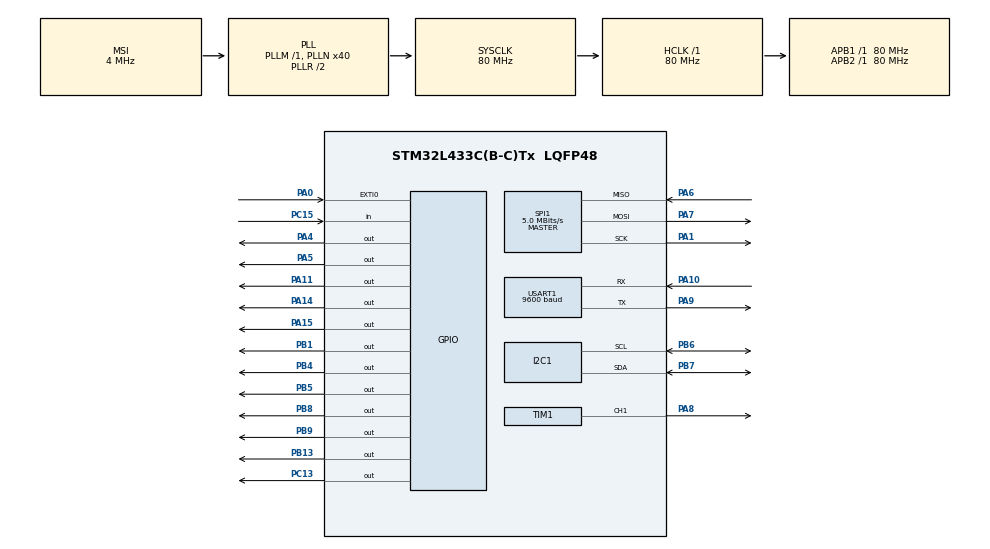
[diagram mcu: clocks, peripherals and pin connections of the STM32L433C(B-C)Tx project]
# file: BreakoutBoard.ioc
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Dma.Request0=SPI1_TX
Dma.SPI1_TX.0.Direction=DMA_MEMORY_TO_PERIPH
Dma.SPI1_TX.0.Instance=DMA1_Channel3
Dma.SPI1_TX.0.MemDataAlignment=DMA_MDATAALIGN_BYTE
Dma.SPI1_TX.0.MemInc=DMA_MINC_ENABLE
Dma.SPI1_TX.0.Mode=DMA_NORMAL
Dma.SPI1_TX.0.PeriphDataAlignment=DMA_PDATAALIGN_BYTE
Dma.SPI1_TX.0.PeriphInc=DMA_PINC_DISABLE
Dma.SPI1_TX.0.Priority=DMA_PRIORITY_VERY_HIGH
I2C1.Timing=0x10909CEC
Mcu.Family=STM32L4
Mcu.Name=STM32L433C(B-C)Tx
Mcu.Package=LQFP48
NVIC.DMA1_Channel3_IRQn=true\:0\:0\:false\:false\:true\:false\:true
NVIC.EXTI0_IRQn=true\:0\:0\:false\:false\:true\:true\:true
NVIC.PriorityGroup=NVIC_PRIORITYGROUP_4
NVIC.SPI1_IRQn=true\:0\:0\:false\:false\:true\:true\:true
NVIC.USART1_IRQn=true\:0\:0\:false\:false\:true\:true\:true
PA0.GPIO_ModeDefaultEXTI=GPIO_MODE_IT_FALLING
PA0.GPIO_PuPd=GPIO_PULLUP
PA0.Signal=GPXTI0
PA1.Mode=Full_Duplex_Master
PA1.Signal=SPI1_SCK
PA10.Mode=Asynchronous
PA10.Signal=USART1_RX
PA11.Signal=GPIO_Output
PA14\ (JTCK-SWCLK).Signal=GPIO_Output
PA15\ (JTDI).Signal=GPIO_Output
PA4.Signal=GPIO_Output
PA5.Signal=GPIO_Output
PA6.Mode=Full_Duplex_Master
PA6.Signal=SPI1_MISO
PA7.Mode=Full_Duplex_Master
PA7.Signal=SPI1_MOSI
PA8.Signal=S_TIM1_CH1
PA9.Mode=Asynchronous
PA9.Signal=USART1_TX
PB1.Signal=GPIO_Output
PB13.Signal=GPIO_Output
PB4\ (NJTRST).Signal=GPIO_Output
PB5.Signal=GPIO_Output
PB6.Mode=I2C
PB6.Signal=I2C1_SCL
PB7.Mode=I2C
PB7.Signal=I2C1_SDA
PB8.Signal=GPIO_Output
PB9.Signal=GPIO_Output
PC13.Signal=GPIO_Output
PC15-OSC32_OUT\ (PC15).Signal=GPIO_Input
ProjectManager.HeapSize=0x200
ProjectManager.StackSize=0x400
ProjectManager.TargetToolchain=STM32CubeIDE
RCC.AHBFreq_Value=80000000
RCC.APB1Freq_Value=80000000
RCC.APB1TimFreq_Value=80000000
RCC.APB2Freq_Value=80000000
RCC.APB2TimFreq_Value=80000000
RCC.CortexFreq_Value=80000000
RCC.HCLKFreq_Value=80000000
RCC.HSE_VALUE=8000000
RCC.HSI48_VALUE=48000000
RCC.HSI_VALUE=16000000
RCC.LSE_VALUE=32768
RCC.MSI_VALUE=4000000
RCC.PLLN=40
RCC.SYSCLKFreq_VALUE=80000000
RCC.SYSCLKSource=RCC_SYSCLKSOURCE_PLLCLK
RCC.VCOOutputFreq_Value=160000000
SH.S_TIM1_CH1.0=TIM1_CH1,PWM Generation1 CH1
SPI1.BaudRatePrescaler=SPI_BAUDRATEPRESCALER_16
SPI1.CalculateBaudRate=5.0 MBits/s
SPI1.DataSize=SPI_DATASIZE_8BIT
SPI1.Direction=SPI_DIRECTION_2LINES
SPI1.Mode=SPI_MODE_MASTER
SPI1.VirtualType=VM_MASTER
TIM1.AutoReloadPreload=TIM_AUTORELOAD_PRELOAD_ENABLE
TIM1.Channel-PWM\ Generation1\ CH1=TIM_CHANNEL_1
USART1.BaudRate=9600
USART1.VirtualMode-Asynchronous=VM_ASYNC
board=custom

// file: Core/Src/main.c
/* USER CODE BEGIN Header */
/**
  ******************************************************************************
  * @file           : main.c
  * @brief          : Main program body
  ******************************************************************************
  * @attention
  *
  * <h2><center>&copy; Copyright (c) 2021 STMicroelectronics.
  * All rights reserved.</center></h2>
  *
  * This software component is licensed by ST under BSD 3-Clause license,
  * the "License"; You may not use this file except in compliance with the
  * License. You may obtain a copy of the License at:
  *                        opensource.org/licenses/BSD-3-Clause
  *
  ******************************************************************************
  */
/* USER CODE END Header */
#include "main.h"

/* USER CODE BEGIN Includes */
#include "flash_checker.h"
#include "touch_checker.h"
#include "connectivity_status.h"
/* USER CODE END Includes */

I2C_HandleTypeDef hi2c1;
SPI_HandleTypeDef hspi1;
DMA_HandleTypeDef hdma_spi1_tx;
TIM_HandleTypeDef htim1;
UART_HandleTypeDef huart1;

void SystemClock_Config(void);
static void MX_GPIO_Init(void);
static void MX_SPI1_Init(void);
static void MX_I2C1_Init(void);
static void MX_USART1_UART_Init(void);
static void MX_DMA_Init(void);
static void MX_TIM1_Init(void);
/* USER CODE BEGIN PFP */
void configure_mux(float volt);
void init_ADC(int channel);
void writeTXecho(void);
void getACWave(int sampleCount, acWave* currWave);
uint32_t flash_write(uint32_t pageAddressStart, char* data, uint16_t numOfWords);
void flash_read(uint32_t pageAddressStart, uint16_t numOfWords);
void flash_checker(int check);
void renderBackground(void);

/* USER CODE END PFP */

/* USER CODE BEGIN 0 */
//Global variables
#define MAXBRIGHTNESS 5
#define ADCSAMPLES 400 //ADC sample SIze
#define ADC1115_ADDRESS 0x48 //ADC address
#define BUFFERSIZE 1 // Buffer size set at 1 to read 1 character at a time
int BRIGHTNESSLEVEL = 3; // Initiate Brightness level at 3 (Middle value)
int HOLDSTATUS = 0; // 0 -> Hold Off, 1 -> Hold On
int MODESTATUS = 0; // 0-> DC, 1-> AC, 2-> Continuity, 3 -> Resistance
int RESETFLAG = 0; // could we combine the reset flag and zero flag?--------------
int ZEROFLAG = 0;
int resMode = 0;
float voltageArray[ADCSAMPLES] = {0};
char uniqueMsg[16] = {0};

//int16_t ADC_read; //ADC read ---------------------doesnt need to be global----------------
float voltage[4]; // Initiate ADC Voltage Float array
const float voltageConversion = (6.114 / 32768.0);
char voltage1[16];
uint8_t recvX[2]; // doesn't need to be global----------------------------------------------
uint8_t recvY[2]; // doesn't need to be global----------------------------------------------
uint16_t dataX = 0; // X component data point required for touch screen functionality
uint16_t dataY = 0;// Y component data point required for touch screen functionality
uint8_t rxBuffer[BUFFERSIZE]; //initiate the receiving end buffer
uint8_t uartMessage[50]; // create string to store the messages as received from the GUI
int connectflash; // flashes the led
volatile uint8_t flag; // Flag variable
volatile uint8_t cont_flag; // Flag variable
volatile uint8_t background_flag = 0; // Flag variable
volatile uint8_t message_flag = 0; // Flag variable
//char* xCoord[32];
//char* yCoord[32];
char* string[32]; // this is not being used -----------------------------------------------------------
uint16_t xPixel = 0;
uint16_t yPixel = 0;

/* USER CODE END 0 */

int main(void)
{

    /* MCU Configuration--------------------------------------------------------*/

    /* Reset of all peripherals, Initializes the Flash interface and the Systick. */
    HAL_Init();

    /* USER CODE BEGIN Init */
    //MX_DMA_Init(); // Might need this because screen breaks if DMA isn't initialized before spi
    /* USER CODE END Init */

    /* Configure the system clock */
    SystemClock_Config();

    /* Initialize all configured peripherals */
    MX_GPIO_Init();
    MX_DMA_Init();
    MX_SPI1_Init();
    MX_I2C1_Init();
    MX_USART1_UART_Init();
    MX_TIM1_Init();
    /* USER CODE BEGIN 2 */
    //Initialize the following GPIO pins
    HAL_TIM_PWM_Start(&htim1, TIM_CHANNEL_1);
    HAL_GPIO_WritePin(GPIOB, GPIO_PIN_1, GPIO_PIN_SET); // pin 9 high
    HAL_GPIO_WritePin(GPIOA, GPIO_PIN_3, GPIO_PIN_SET);
    HAL_GPIO_WritePin(GPIOA, GPIO_PIN_4, GPIO_PIN_SET);
    HAL_GPIO_WritePin(GPIOA, GPIO_PIN_5, GPIO_PIN_SET);
    ILI9163_init(1); // Flipped landscape
    init_ADC(0); //Initialize the ADC
    TIM1->CCR1 = (65535 / (MAXBRIGHTNESS)*BRIGHTNESSLEVEL);// split the brightness level of the bg into different levels
    time1 = HAL_GetTick();//store the values of the tick at different points
    time2 = HAL_GetTick();//store the values of the tick at different points
    Connected = 0; //initialize the the connected variable at zero for not connected
    connectflash = 0; //initialize the flash variable to flicker the connected symbol
    cont_flag = 1; //initialize flag
    /* USER CODE END 2 */

    /* Infinite loop */
    /* USER CODE BEGIN WHILE */
    HAL_UART_Receive_IT(&huart1, rxBuffer, BUFFERSIZE);
    renderBackground();
    acWave currWave = { -99, 99, 0, 0, 0, 0, 0 }; //----------------- should we change this?---------------
    int breakpoint = 0; // do we need this for final? ---------------------------------------------------
    int sampleCount = 0;
    int lastRender = HAL_GetTick();//store the time of the last render
    int lastRead = HAL_GetTick();//store the time of the last read
    int init_flag = 1;

    flash_read(0x0803F800, 3); // read value from flash memory
    if ((atoi(flashBuffer) >= 0) && (atoi(flashBuffer) <= 200)) {
        continuity = atoi(flashBuffer); // if valid value, set as continuity
    }

    while (1) {

        // used to blink the connection indicator
        if (connectflash == 0) {
            connectflash = 1;
        } else if (connectflash == 1) {
            connectflash = 0;
        }

        // Handles the HOLD functionality
        if (!HOLDSTATUS) {
            if ((HAL_GetTick() - lastRead >= 5)) {
                read_ADC(sampleCount);
                configure_mux((voltageArray[sampleCount] / 11.00 + 1.77));
                getACWave(sampleCount, &currWave);
                sampleCount++;
                lastRead = HAL_GetTick();
            }
            if (sampleCount == ADCSAMPLES) {
                sampleCount = 0;
            }
        }

        if (sampleCount == 0) {
            currWave.DC = voltageArray[ADCSAMPLES - 1];
        } else {
            currWave.DC = voltageArray[sampleCount - 1];
        }

        // Handle button presses on the touch screen
        if (flag == 1) {
            flag = 0;
            dataX = recieveXdata();
            dataY = recieveYdata();
            dataX = dataX >> 3;
            dataY = dataY >> 3;
            xPixel = round((160 * dataY) / 3847 - 5); //Screen calibration equations
            yPixel = round(128 - (128 * dataX) / 3847);
            touch_checker();
        }

        // handles the connectivity to the PC
        connectivity_status();

        // render the background
        if (background_flag) {
            background_flag = 0;
            renderBackground();
        }

        // render initially and then every 200ms
        if ((init_flag == 1) || (HAL_GetTick() - lastRender >= 200)) {
            init_flag = 0;
            yourRenderFunction(&currWave, sampleCount);
            lastRender = HAL_GetTick();
            if (message_flag && Connected) { // displays the message over any underlying display
                renderMessage(uniqueMsg);
            }
        }
        breakpoint++; // do we still need this? --------------------------------------------------
        /* USER CODE END WHILE */

    }
}

void SystemClock_Config(void)
{
    RCC_OscInitTypeDef RCC_OscInitStruct = { 0 };
    RCC_ClkInitTypeDef RCC_ClkInitStruct = { 0 };

    /** Configure the main internal regulator output voltage
  */
    if (HAL_PWREx_ControlVoltageScaling(PWR_REGULATOR_VOLTAGE_SCALE1) != HAL_OK) {
        Error_Handler();
    }
    /** Initializes the RCC Oscillators according to the specified parameters
  * in the RCC_OscInitTypeDef structure.
  */
    RCC_OscInitStruct.OscillatorType = RCC_OSCILLATORTYPE_MSI;
    RCC_OscInitStruct.MSIState = RCC_MSI_ON;
    RCC_OscInitStruct.MSICalibrationValue = 0;
    RCC_OscInitStruct.MSIClockRange = RCC_MSIRANGE_6;
    RCC_OscInitStruct.PLL.PLLState = RCC_PLL_ON;
    RCC_OscInitStruct.PLL.PLLSource = RCC_PLLSOURCE_MSI;
    RCC_OscInitStruct.PLL.PLLM = 1;
    RCC_OscInitStruct.PLL.PLLN = 40;
    RCC_OscInitStruct.PLL.PLLP = RCC_PLLP_DIV7;
    RCC_OscInitStruct.PLL.PLLQ = RCC_PLLQ_DIV2;
    RCC_OscInitStruct.PLL.PLLR = RCC_PLLR_DIV2;
    if (HAL_RCC_OscConfig(&RCC_OscInitStruct) != HAL_OK) {
        Error_Handler();
    }
    /** Initializes the CPU, AHB and APB buses clocks
  */
    RCC_ClkInitStruct.ClockType = RCC_CLOCKTYPE_HCLK | RCC_CLOCKTYPE_SYSCLK
        | RCC_CLOCKTYPE_PCLK1 | RCC_CLOCKTYPE_PCLK2;
    RCC_ClkInitStruct.SYSCLKSource = RCC_SYSCLKSOURCE_PLLCLK;
    RCC_ClkInitStruct.AHBCLKDivider = RCC_SYSCLK_DIV1;
    RCC_ClkInitStruct.APB1CLKDivider = RCC_HCLK_DIV1;
    RCC_ClkInitStruct.APB2CLKDivider = RCC_HCLK_DIV1;

    if (HAL_RCC_ClockConfig(&RCC_ClkInitStruct, FLASH_LATENCY_4) != HAL_OK) {
        Error_Handler();
    }
}

static void MX_I2C1_Init(void)
{

    hi2c1.Instance = I2C1;
    hi2c1.Init.Timing = 0x10909CEC;
    hi2c1.Init.OwnAddress1 = 0;
    hi2c1.Init.AddressingMode = I2C_ADDRESSINGMODE_7BIT;
    hi2c1.Init.DualAddressMode = I2C_DUALADDRESS_DISABLE;
    hi2c1.Init.OwnAddress2 = 0;
    hi2c1.Init.OwnAddress2Masks = I2C_OA2_NOMASK;
    hi2c1.Init.GeneralCallMode = I2C_GENERALCALL_DISABLE;
    hi2c1.Init.NoStretchMode = I2C_NOSTRETCH_DISABLE;
    if (HAL_I2C_Init(&hi2c1) != HAL_OK) {
        Error_Handler();
    }
    /** Configure Analogue filter
  */
    if (HAL_I2CEx_ConfigAnalogFilter(&hi2c1, I2C_ANALOGFILTER_ENABLE) != HAL_OK) {
        Error_Handler();
    }
    /** Configure Digital filter
  */
    if (HAL_I2CEx_ConfigDigitalFilter(&hi2c1, 0) != HAL_OK) {
        Error_Handler();
    }
}

static void MX_SPI1_Init(void)
{

    /* SPI1 parameter configuration*/
    hspi1.Instance = SPI1;
    hspi1.Init.Mode = SPI_MODE_MASTER;
    hspi1.Init.Direction = SPI_DIRECTION_2LINES;
    hspi1.Init.DataSize = SPI_DATASIZE_8BIT;
    hspi1.Init.CLKPolarity = SPI_POLARITY_LOW;
    hspi1.Init.CLKPhase = SPI_PHASE_1EDGE;
    hspi1.Init.NSS = SPI_NSS_SOFT;
    hspi1.Init.BaudRatePrescaler = SPI_BAUDRATEPRESCALER_16;
    hspi1.Init.FirstBit = SPI_FIRSTBIT_MSB;
    hspi1.Init.TIMode = SPI_TIMODE_DISABLE;
    hspi1.Init.CRCCalculation = SPI_CRCCALCULATION_DISABLE;
    hspi1.Init.CRCPolynomial = 7;
    hspi1.Init.CRCLength = SPI_CRC_LENGTH_DATASIZE;
    hspi1.Init.NSSPMode = SPI_NSS_PULSE_ENABLE;
    if (HAL_SPI_Init(&hspi1) != HAL_OK) {
        Error_Handler();
    }
}

static void MX_TIM1_Init(void)
{

    TIM_MasterConfigTypeDef sMasterConfig = { 0 };
    TIM_OC_InitTypeDef sConfigOC = { 0 };
    TIM_BreakDeadTimeConfigTypeDef sBreakDeadTimeConfig = { 0 };

    htim1.Instance = TIM1;
    htim1.Init.Prescaler = 0;
    htim1.Init.CounterMode = TIM_COUNTERMODE_UP;
    htim1.Init.Period = 65535;
    htim1.Init.ClockDivision = TIM_CLOCKDIVISION_DIV1;
    htim1.Init.RepetitionCounter = 0;
    htim1.Init.AutoReloadPreload = TIM_AUTORELOAD_PRELOAD_ENABLE;
    if (HAL_TIM_PWM_Init(&htim1) != HAL_OK) {
        Error_Handler();
    }
    sMasterConfig.MasterOutputTrigger = TIM_TRGO_RESET;
    sMasterConfig.MasterOutputTrigger2 = TIM_TRGO2_RESET;
    sMasterConfig.MasterSlaveMode = TIM_MASTERSLAVEMODE_DISABLE;
    if (HAL_TIMEx_MasterConfigSynchronization(&htim1, &sMasterConfig) != HAL_OK) {
        Error_Handler();
    }
    sConfigOC.OCMode = TIM_OCMODE_PWM1;
    sConfigOC.Pulse = 0;
    sConfigOC.OCPolarity = TIM_OCPOLARITY_HIGH;
    sConfigOC.OCNPolarity = TIM_OCNPOLARITY_HIGH;
    sConfigOC.OCFastMode = TIM_OCFAST_DISABLE;
    sConfigOC.OCIdleState = TIM_OCIDLESTATE_RESET;
    sConfigOC.OCNIdleState = TIM_OCNIDLESTATE_RESET;
    if (HAL_TIM_PWM_ConfigChannel(&htim1, &sConfigOC, TIM_CHANNEL_1) != HAL_OK) {
        Error_Handler();
    }
    sBreakDeadTimeConfig.OffStateRunMode = TIM_OSSR_DISABLE;
    sBreakDeadTimeConfig.OffStateIDLEMode = TIM_OSSI_DISABLE;
    sBreakDeadTimeConfig.LockLevel = TIM_LOCKLEVEL_OFF;
    sBreakDeadTimeConfig.DeadTime = 0;
    sBreakDeadTimeConfig.BreakState = TIM_BREAK_DISABLE;
    sBreakDeadTimeConfig.BreakPolarity = TIM_BREAKPOLARITY_HIGH;
    sBreakDeadTimeConfig.BreakFilter = 0;
    sBreakDeadTimeConfig.Break2State = TIM_BREAK2_DISABLE;
    sBreakDeadTimeConfig.Break2Polarity = TIM_BREAK2POLARITY_HIGH;
    sBreakDeadTimeConfig.Break2Filter = 0;
    sBreakDeadTimeConfig.AutomaticOutput = TIM_AUTOMATICOUTPUT_DISABLE;
    if (HAL_TIMEx_ConfigBreakDeadTime(&htim1, &sBreakDeadTimeConfig) != HAL_OK) {
        Error_Handler();
    }
    HAL_TIM_MspPostInit(&htim1);
}

static void MX_USART1_UART_Init(void)
{

    huart1.Instance = USART1;
    huart1.Init.BaudRate = 9600;
    huart1.Init.WordLength = UART_WORDLENGTH_8B;
    huart1.Init.StopBits = UART_STOPBITS_1;
    huart1.Init.Parity = UART_PARITY_NONE;
    huart1.Init.Mode = UART_MODE_TX_RX;
    huart1.Init.HwFlowCtl = UART_HWCONTROL_NONE;
    huart1.Init.OverSampling = UART_OVERSAMPLING_16;
    huart1.Init.OneBitSampling = UART_ONE_BIT_SAMPLE_DISABLE;
    huart1.AdvancedInit.AdvFeatureInit = UART_ADVFEATURE_NO_INIT;
    if (HAL_UART_Init(&huart1) != HAL_OK) {
        Error_Handler();
    }
}

static void MX_DMA_Init(void)
{

    /* DMA controller clock enable */
    __HAL_RCC_DMA1_CLK_ENABLE();

    /* DMA interrupt init */
    /* DMA1_Channel3_IRQn interrupt configuration */
    HAL_NVIC_SetPriority(DMA1_Channel3_IRQn, 0, 0);
    HAL_NVIC_EnableIRQ(DMA1_Channel3_IRQn);
}

static void MX_GPIO_Init(void)
{
    GPIO_InitTypeDef GPIO_InitStruct = { 0 };

    /* GPIO Ports Clock Enable */
    __HAL_RCC_GPIOC_CLK_ENABLE();
    __HAL_RCC_GPIOA_CLK_ENABLE();
    __HAL_RCC_GPIOB_CLK_ENABLE();

    /*Configure GPIO pin Output Level */
    HAL_GPIO_WritePin(GPIOC, GPIO_PIN_13, GPIO_PIN_RESET);

    /*Configure GPIO pin Output Level */
    HAL_GPIO_WritePin(GPIOA, GPIO_PIN_4 | GPIO_PIN_5 | GPIO_PIN_11 | GPIO_PIN_14 | GPIO_PIN_15, GPIO_PIN_RESET);

    /*Configure GPIO pin Output Level */
    HAL_GPIO_WritePin(GPIOB, GPIO_PIN_1 | GPIO_PIN_13 | GPIO_PIN_4 | GPIO_PIN_5 | GPIO_PIN_8 | GPIO_PIN_9, GPIO_PIN_RESET);

    /*Configure GPIO pin : PC13 */
    GPIO_InitStruct.Pin = GPIO_PIN_13;
    GPIO_InitStruct.Mode = GPIO_MODE_OUTPUT_PP;
    GPIO_InitStruct.Pull = GPIO_NOPULL;
    GPIO_InitStruct.Speed = GPIO_SPEED_FREQ_LOW;
    HAL_GPIO_Init(GPIOC, &GPIO_InitStruct);

    /*Configure GPIO pin : PC15 */
    GPIO_InitStruct.Pin = GPIO_PIN_15;
    GPIO_InitStruct.Mode = GPIO_MODE_INPUT;
    GPIO_InitStruct.Pull = GPIO_NOPULL;
    HAL_GPIO_Init(GPIOC, &GPIO_InitStruct);

    /*Configure GPIO pin : PA0 */
    GPIO_InitStruct.Pin = GPIO_PIN_0;
    GPIO_InitStruct.Mode = GPIO_MODE_IT_FALLING;
    GPIO_InitStruct.Pull = GPIO_PULLUP;
    HAL_GPIO_Init(GPIOA, &GPIO_InitStruct);

    /*Configure GPIO pins : PA4 PA5 PA11 PA14
                           PA15 */
    GPIO_InitStruct.Pin = GPIO_PIN_4 | GPIO_PIN_5 | GPIO_PIN_11 | GPIO_PIN_14
        | GPIO_PIN_15;
    GPIO_InitStruct.Mode = GPIO_MODE_OUTPUT_PP;
    GPIO_InitStruct.Pull = GPIO_NOPULL;
    GPIO_InitStruct.Speed = GPIO_SPEED_FREQ_LOW;
    HAL_GPIO_Init(GPIOA, &GPIO_InitStruct);

    /*Configure GPIO pins : PB1 PB13 PB4 PB5
                           PB8 PB9 */
    GPIO_InitStruct.Pin = GPIO_PIN_1 | GPIO_PIN_13 | GPIO_PIN_4 | GPIO_PIN_5
        | GPIO_PIN_8 | GPIO_PIN_9;
    GPIO_InitStruct.Mode = GPIO_MODE_OUTPUT_PP;
    GPIO_InitStruct.Pull = GPIO_NOPULL;
    GPIO_InitStruct.Speed = GPIO_SPEED_FREQ_LOW;
    HAL_GPIO_Init(GPIOB, &GPIO_InitStruct);

    /* EXTI interrupt init*/
    HAL_NVIC_SetPriority(EXTI0_IRQn, 0, 0);
    HAL_NVIC_EnableIRQ(EXTI0_IRQn);
}

/* USER CODE BEGIN 4 */

void configure_mux(float volt) {
	//static int resMode = 1;
	if (MODESTATUS == 0 || MODESTATUS == 1) {
		HAL_GPIO_WritePin(GPIOA, GPIO_PIN_4, GPIO_PIN_SET); // A = 1, B = 1, C = 0
		HAL_GPIO_WritePin(GPIOA, GPIO_PIN_5, GPIO_PIN_RESET);

		HAL_GPIO_WritePin(GPIOB, GPIO_PIN_13, GPIO_PIN_SET); // red probe

//		HAL_GPIO_WritePin(GPIOB, GPIO_PIN_13, GPIO_PIN_RESET);
//		//HAL_GPIO_WritePin(GPIOB, GPIO_PIN_14, GPIO_PIN_SET);
//		HAL_GPIO_WritePin(GPIOB, GPIO_PIN_15, GPIO_PIN_RESET);
	} if (MODESTATUS == 2 || MODESTATUS == 3) {
//		if (resMode == 2) {
//			resMode = 1;
//		}
		HAL_GPIO_WritePin(GPIOB, GPIO_PIN_13, GPIO_PIN_RESET);

		//HAL_GPIO_WritePin(GPIOA, GPIO_PIN_4, GPIO_PIN_RESET); //MULTIPLEX not working

		HAL_GPIO_WritePin(GPIOA, GPIO_PIN_5, GPIO_PIN_SET); //RELAY

		if (resMode == 1){
			HAL_GPIO_WritePin(GPIOA, GPIO_PIN_4, GPIO_PIN_RESET); //last relay
			HAL_GPIO_WritePin(GPIOA, GPIO_PIN_5, GPIO_PIN_SET); //2nd last relay

//			HAL_GPIO_WritePin(GPIOB, GPIO_PIN_8, GPIO_PIN_SET);
//			HAL_GPIO_WritePin(GPIOB, GPIO_PIN_13, GPIO_PIN_RESET);
//			//HAL_GPIO_WritePin(GPIOB, GPIO_PIN_14, GPIO_PIN_RESET);
//			HAL_GPIO_WritePin(GPIOB, GPIO_PIN_15, GPIO_PIN_SET);
			if (volt > 1.82) {
				resMode = 0;
			} else if (volt < 0.065) { // Try 0.05812 cutoff at 22 ohm
				resMode = 2;
			}
		} else if (resMode == 2) {
			HAL_GPIO_WritePin(GPIOA, GPIO_PIN_4, GPIO_PIN_SET); // A = 0, B = 0, C = 0
			HAL_GPIO_WritePin(GPIOA, GPIO_PIN_5, GPIO_PIN_SET);

//			HAL_GPIO_WritePin(GPIOB, GPIO_PIN_8, GPIO_PIN_SET);
//			HAL_GPIO_WritePin(GPIOB, GPIO_PIN_13, GPIO_PIN_SET);
//			//
//			HAL_GPIO_WritePin(GPIOB, GPIO_PIN_14, GPIO_PIN_RESET);
//			HAL_GPIO_WritePin(GPIOB, GPIO_PIN_15, GPIO_PIN_SET);
			if (volt > 1.5) {	//Try 1.8 cutoff at 20 ohm
                resMode = 1;
            }
        } else if (!resMode) {
			//HAL_GPIO_WritePin(GPIOA, GPIO_PIN_4, GPIO_PIN_RESET); //
			HAL_GPIO_WritePin(GPIOA, GPIO_PIN_5, GPIO_PIN_RESET);

//			HAL_GPIO_WritePin(GPIOB, GPIO_PIN_8, GPIO_PIN_SET);
//			HAL_GPIO_WritePin(GPIOB, GPIO_PIN_13, GPIO_PIN_RESET);
//			//HAL_GPIO_WritePin(GPIOB, GPIO_PIN_14, GPIO_PIN_RESET);
//			HAL_GPIO_WritePin(GPIOB, GPIO_PIN_15, GPIO_PIN_RESET);
			if (volt < 0.16) {
				resMode = 1;
			}
		}
	}
}

uint32_t flash_write(uint32_t pageAddressStart, char* data, uint16_t numOfWords)
{
    static FLASH_EraseInitTypeDef eraseStruct;
    uint32_t pageError;
    int currWord = 0;

    HAL_FLASH_Unlock();

    eraseStruct.Banks = FLASH_BANK_1;
    eraseStruct.TypeErase = FLASH_TYPEERASE_PAGES;
    eraseStruct.Page = 127;
    eraseStruct.NbPages = 1;

    if (HAL_FLASHEx_Erase(&eraseStruct, &pageError) != HAL_OK) {
        /*Error occurred while page erase.*/
        return HAL_FLASH_GetError();
    }
    /* Programming the FLASH page */
    while (currWord < numOfWords) { // Currently using double word unsure if will work

        if (HAL_FLASH_Program(FLASH_TYPEPROGRAM_DOUBLEWORD, pageAddressStart, (uint32_t)data[currWord]) == HAL_OK) {
            pageAddressStart += 8; // use StartPageAddress += 2 for half word and 8 for double word
            currWord++;
        } else {
            /* Error occurred while writing data in Flash memory*/
            return HAL_FLASH_GetError();
        }
    }

    HAL_FLASH_Lock();
    return 0;
}

void flash_read(uint32_t pageAddressStart, uint16_t numOfWords)
{
    int index = 0;
    while (index < numOfWords) {
        flashBuffer[index] = (char)(*(__IO uint32_t*)pageAddressStart);
        pageAddressStart += 8;
        index++;
    }
}

void touch_callback()
{
    if (HAL_GetTick() - time1 > 200) {
        HAL_GPIO_TogglePin(GPIOB, GPIO_PIN_3);
        flag = 1;
    }
    time1 = HAL_GetTick();
}

void init_ADC(int channel)
{
    unsigned char ADCwrite[6]; //adc write char
    ADCwrite[0] = 0x11;
    ADCwrite[1] = 0x80;
    ADCwrite[2] = 0x00;
    HAL_I2C_Master_Transmit(&hi2c1, ADC1115_ADDRESS << 1, ADCwrite, 3, 100);

    ADCwrite[0] = 0x10;
    ADCwrite[1] = 0x00;
    ADCwrite[2] = 0x00;
    HAL_I2C_Master_Transmit(&hi2c1, ADC1115_ADDRESS << 1, ADCwrite, 3, 100);

    if (channel == 0) {
        ADCwrite[0] = 0x01;
        ADCwrite[1] = 0xC0;
        ADCwrite[2] = 0xE4;
        HAL_I2C_Master_Transmit(&hi2c1, ADC1115_ADDRESS << 1, ADCwrite, 3, 100);
    } else if (channel == 2) {
        ADCwrite[0] = 0x01;
        ADCwrite[1] = 0xE0;
        ADCwrite[2] = 0xE4;
        HAL_I2C_Master_Transmit(&hi2c1, ADC1115_ADDRESS << 1, ADCwrite, 3, 100);
    }
}

void read_ADC(int sampleCount)
{
	unsigned char ADCwrite[6]; //adc write char
	int16_t ADC_read;
	ADCwrite[0] = 0x00;
	HAL_I2C_Master_Transmit(&hi2c1, ADC1115_ADDRESS << 1, ADCwrite, 1, 100);
	HAL_Delay(1);

	HAL_I2C_Master_Receive(&hi2c1, ADC1115_ADDRESS << 1, ADCwrite, 2, 100);
	ADC_read = (ADCwrite[0] << 8 | ADCwrite[1]);
	if(ADC_read < 0){
		ADC_read = 0;
	}
	voltage[0] = ADC_read * voltageConversion /*(1100/100)*/;

//		for (int j = 1; j < ADCSAMPLES; j++) {
//			voltageArray[j - 1] = voltageArray[j];
//		}

	voltageArray[sampleCount] = ((ADC_read * voltageConversion) - 1.731) * (11.00); // could be 1.725
		//voltage[i] = 220 * (1/(2.7/(ADC_read* voltageConversion))-1);
	//voltage[0] = ((ADC_read * voltageConversion)-1.8)*(1100/100)		//DC voltage conversion
	voltage[2] = (ADC_read * voltageConversion);
//		voltage[2] = 220 * (1/(2.7/(ADC_read* voltageConversion))-1);	//resistance conversion
}

void getACWave(int sampleCount, acWave* currWave)
{
	float rmsVal = 0;
	float voltageSum = 0;
	float max = 0;
	float min = 0;
	if (!(sampleCount % 10)) {
		for (int i = 0; i < ADCSAMPLES; i++) {
			if (voltageArray[i] > max) {
				max = voltageArray[i];
			}
			if (voltageArray[i] < min) {
				min = voltageArray[i];
			}
		}

		currWave->offset = (max + min)/2;
		//currWave->offset = voltageSum / ADCSAMPLES;
		for (int i = 0; i < ADCSAMPLES; i++) {
			rmsVal += pow(voltageArray[i] - currWave->offset, 2);
		}
		rmsVal /= 400.0;
		currWave->rms = sqrt(rmsVal);
	}

	if (MODESTATUS == 1) {
		if (currWave->rms > currWave->max) {
			currWave->max = currWave->rms;
		}
		if (currWave->rms < currWave->min) {
			currWave->min = currWave->rms;
		}
	} else {
		if (currWave->DC > currWave->max) {
			currWave->max = currWave->DC;
		}
		if (currWave->DC < currWave->min) {
			currWave->min = currWave->DC;
		}
	}

	float resVoltage = voltageArray[sampleCount]/11.00 + 1.73; //Calibrate to Vref
	if (resMode == 0) {
		currWave->res = 750000 * (1/((1.7/resVoltage)-1)); //Think best advice is 7500000 for the big ones and 1k for small

	} else if (resMode == 1) {
		currWave->res = 1200 * (1/((1.75/resVoltage)-1)); //Think best advice is 7500000 for the big ones and 1k for small

	} else {
		currWave->res = 10 * (1/((1.7/resVoltage)-1)); //Think best advice is 7500000 for the big ones and 1k for small
	}

	//currWave->res = resVoltage;

	if (ZEROFLAG) {
		ZEROFLAG = 0;
		currWave->zero = currWave->res;
	}
	currWave->res = currWave->res - currWave->zero;

	if (RESETFLAG) {
		RESETFLAG = 0;
		currWave->max = -99;
		currWave->min = 99;
	}
}
//used to receive the X-data component value from the resistive touch screen
uint16_t recieveXdata()
{
    uint8_t startX = 0xD0;
    uint8_t recvCoordsX[2] = { 0, 0 };
    HAL_GPIO_WritePin(GPIOB, GPIO_PIN_4, SET);
    HAL_GPIO_WritePin(GPIOB, GPIO_PIN_1, RESET);
    HAL_SPI_Transmit(&hspi1, (uint8_t*)&startX, sizeof(startX), HAL_MAX_DELAY);
    HAL_SPI_Receive(&hspi1, (uint8_t*)&recvCoordsX, sizeof(recvCoordsX), HAL_MAX_DELAY);
    HAL_GPIO_WritePin(GPIOB, GPIO_PIN_4, RESET);
    HAL_GPIO_WritePin(GPIOB, GPIO_PIN_1, SET);

    recvX[0] = recvCoordsX[0];
    recvX[1] = recvCoordsX[1];
    //return the recorded value
    return (recvX[0] << 0x08 | recvX[1]);
}

uint16_t recieveYdata()
{
    uint8_t startY = 0x90;
    uint8_t recvCoordsY[2] = { 0, 0 };
    HAL_GPIO_WritePin(GPIOB, GPIO_PIN_4, SET);
    HAL_GPIO_WritePin(GPIOB, GPIO_PIN_1, RESET);
    HAL_SPI_Transmit(&hspi1, (uint8_t*)&startY, sizeof(startY), HAL_MAX_DELAY);
    HAL_SPI_Receive(&hspi1, (uint8_t*)&recvCoordsY, sizeof(recvCoordsY), HAL_MAX_DELAY);
    HAL_GPIO_WritePin(GPIOB, GPIO_PIN_4, RESET);
    HAL_GPIO_WritePin(GPIOB, GPIO_PIN_1, SET);

    recvY[0] = recvCoordsY[0];
    recvY[1] = recvCoordsY[1];

    return (recvY[0] << 0x08 | recvY[1]);
}

//render background function is used to update and redraw the background when called
void renderBackground()
{
	ILI9163_newFrame(); // Call this to clear the frame buffer out
	ILI9163_fillRect(0, 0, 160, 128, DARKGRAY);
	ILI9163_drawString(10, 3, Font_11x18, WHITE, "Multimeter");

	// Vertical bar graph (dependent on brightness)
	int minx = 10;
	int maxx = 20;
	int miny = 100;
	int maxy = 110;

	ILI9163_fillRect(minx, miny-56, maxx, maxy-56, WHITE);
	ILI9163_fillRect(minx, miny-42, maxx, maxy-42, WHITE);
	ILI9163_fillRect(minx, miny-28, maxx, maxy-28, WHITE);
	ILI9163_fillRect(minx, miny-14, maxx, maxy-14, WHITE);
	ILI9163_fillRect(minx, miny, maxx, maxy, YELLOW);

	if (BRIGHTNESSLEVEL == 5) {
		ILI9163_fillRect(minx, miny-56, maxx, maxy-56, YELLOW);
		ILI9163_fillRect(minx, miny-42, maxx, maxy-42, YELLOW);
		ILI9163_fillRect(minx, miny-28, maxx, maxy-28, YELLOW);
		ILI9163_fillRect(minx, miny-14, maxx, maxy-14, YELLOW);
		ILI9163_fillRect(minx, miny, maxx, maxy, YELLOW);
	} else if (BRIGHTNESSLEVEL == 4) {
		ILI9163_fillRect(minx, miny-42, maxx, maxy-42, YELLOW);
		ILI9163_fillRect(minx, miny-28, maxx, maxy-28, YELLOW);
		ILI9163_fillRect(minx, miny-14, maxx, maxy-14, YELLOW);
		ILI9163_fillRect(minx, miny, maxx, maxy, YELLOW);
	}else if (BRIGHTNESSLEVEL == 3) {
		ILI9163_fillRect(minx, miny-28, maxx, maxy-28, YELLOW);
		ILI9163_fillRect(minx, miny-14, maxx, maxy-14, YELLOW);
		ILI9163_fillRect(minx, miny, maxx, maxy, YELLOW);
	}else if (BRIGHTNESSLEVEL == 2) {
		ILI9163_fillRect(minx, miny-14, maxx, maxy-14, YELLOW);
		ILI9163_fillRect(minx, miny, maxx, maxy, YELLOW);
	}
	// Custom draw triangle functions (ILI9163)
	ILI9163_drawTriangleUP(15,maxy-83, WHITE); 		// Up Arrow
	ILI9163_drawTriangleDOWN(15,maxy+15, WHITE); 	// Down Arrow

	// Reset

	ILI9163_fillCircle(145, 15, 15, RED);
	if (MODESTATUS == 0 || MODESTATUS == 1) {
		ILI9163_drawString(138, 5, Font_7x10, WHITE, "RE");
		ILI9163_drawString(135, 15, Font_7x10, WHITE, "SET");
	} else {
		ILI9163_drawString(138, 5, Font_7x10, WHITE, "ZE");
		ILI9163_drawString(138, 15, Font_7x10, WHITE, "RO");
	}
}

void yourRenderFunction(acWave* acWave, int sampleCount) {

	//Mode Button
	ILI9163_fillRect(35, 94, 83, 122, YELLOW);
	ILI9163_drawString(37, 95, Font_11x18, BLACK, "MODE");
	if (MODESTATUS == 0) {
		ILI9163_drawString(35, 112, Font_7x10, BLACK, "DC");
	} else if (MODESTATUS == 1) {
		ILI9163_drawString(35, 112, Font_7x10, BLACK, "AC");
	} else if (MODESTATUS == 2) {
		ILI9163_drawString(35, 112, Font_7x10, BLACK, "Rstance");
	} else if (MODESTATUS == 3) {
		ILI9163_drawString(35, 112, Font_7x10, BLACK, "Cont");
	}

	// Hold Button
	if (HOLDSTATUS == 0) {
		ILI9163_fillRect(88, 94, 135, 122, RED);
		ILI9163_drawString(90, 112, Font_7x10, WHITE, "Off");
	} else if (HOLDSTATUS == 1) {
		ILI9163_fillRect(88, 94, 135, 122, GREEN);
		ILI9163_drawString(90, 112, Font_7x10, WHITE, "On");
	}
	ILI9163_drawString(90, 95, Font_11x18, WHITE, "HOLD");

	// Display Current Value

	float acVal = acWave->rms;
	float dcVal = (acWave->DC);
	float res = acWave->res;
	int high, diff, low;
	char measVal[8];
	char prefix = ' ';
	if (MODESTATUS == 0) {
		high = (int)dcVal;
		diff = (dcVal -  high)*100;

	} else if (MODESTATUS == 1) {
		high = (int)acVal;
		diff = (acVal -  high)*100;

	} else if (MODESTATUS == 2) {
		if (res >= 1000 && res < 500000) {
			high = (int)(res/1000);
			diff = (res -  (high*1000))/10;
			prefix = 'k';
		} else if (res >= 500000 && res <= 2000000) {
			high = (int)(res/1000000);
			diff = (res -  high)/1000;
			prefix = 'M';
		} else if (res >= 0 && res <= 1000) {
			high = (int)res;
			if (res < 1) {
				diff = (res - high)*1000;
			} else {
				diff = (res - high)*100;
			}
		} else if (res > 2000000 || res < 0) {
			high = 0;
			diff = 0;
		}
	} else if (MODESTATUS == 3){
		high = (int)continuity/10;
		diff = (continuity - (high*10))*10;
	}
	low = abs((int)diff);
	if (MODESTATUS == 0 && dcVal < 0 && dcVal > -1) {
		sprintf(measVal, "-%d.%02d%c", high, low, prefix);
	} else {
		sprintf(measVal, "%02d.%02d%c", high, low, prefix);
	}

	if (MODESTATUS == 0) {
		ILI9163_drawString(70, 50, Font_7x10, WHITE, "Current");
		ILI9163_fillRect(71, 60, 115, 78, WHITE);
		ILI9163_drawString(71, 80, Font_7x10, WHITE, "Volts");
		ILI9163_drawString(72, 65, Font_7x10, BLACK, measVal);
	} else if (MODESTATUS == 1) {
		ILI9163_drawString(70, 50, Font_7x10, WHITE, "Current");
		ILI9163_fillRect(71, 60, 115, 78, WHITE);
		ILI9163_drawString(71, 80, Font_7x10, WHITE, "Vrms");
		ILI9163_drawString(72, 65, Font_7x10, BLACK, measVal);
	} else if (MODESTATUS == 2) {
		ILI9163_fillRect(45, 38, 142, 68, WHITE);
		ILI9163_drawString(92, 70, Font_7x10, WHITE, "?");
		ILI9163_drawString(65, 50, Font_7x10, BLACK, measVal);
	} else if (MODESTATUS == 3) {
		ILI9163_fillRect(35, 38, 85, 58, WHITE);
		ILI9163_drawString(57, 60, Font_7x10, WHITE, "?");
		ILI9163_drawString(38, 45, Font_7x10, BLACK, measVal);
	}

	// Minimum Value
	float min = acWave->min;
	char minVal[6];
	if (MODESTATUS == 0) {
		high = (int)min;
		diff = (min -  high)*100;
	} else if (MODESTATUS == 1) {
		high = (int)min;
		diff = (min -  high)*100;
	} else {
		high = 0;
		diff = 0;
	}
	low = abs((int)diff);
	if (MODESTATUS == 0 && min < 0 && min > -1) {
		sprintf(minVal, "-%d.%02d%c", high, low, prefix);
	} else {
		sprintf(minVal, "%02d.%02d%c", high, low, prefix);
	}

	if (MODESTATUS == 0) {
		ILI9163_fillRect(27, 60, 70, 78, WHITE);
		ILI9163_drawString(27, 50, Font_7x10, WHITE, "MIN");
		ILI9163_drawString(28, 65, Font_7x10, BLACK, minVal);
		ILI9163_drawString(27, 80, Font_7x10, WHITE, "Volts");
	} else if (MODESTATUS == 1) {
		ILI9163_fillRect(27, 60, 70, 78, WHITE);
		ILI9163_drawString(27, 50, Font_7x10, WHITE, "MIN");
		ILI9163_drawString(28, 65, Font_7x10, BLACK, minVal);
		ILI9163_drawString(27, 80, Font_7x10, WHITE, "Vrms");
	}

	// Maximum Value
	float max = acWave->max;
	char maxVal[6];
	if (MODESTATUS == 0) {
		high = (int)max;
		diff = (max -  high)*100;
	} else if (MODESTATUS == 1) {
		high = (int)max;
		diff = (max -  high)*100;
	} else {
		high = 0;
		diff = 0;
	}
	low = abs((int)diff);
	if (MODESTATUS == 0 && max < 0 && max > -1) {
		sprintf(maxVal, "-%d.%02d%c", high, low, prefix);
	} else {
		sprintf(maxVal, "%02d.%02d%c", high, low, prefix);
	}
	int shortFlag = 0;

	if (MODESTATUS == 0) {
		ILI9163_fillRect(116, 60, 158, 78, WHITE);
		ILI9163_drawString(135, 50, Font_7x10, WHITE, "MAX");
		ILI9163_drawString(116, 65, Font_7x10, BLACK, maxVal);
		ILI9163_drawString(118, 80, Font_7x10, WHITE, "Volts");
	} else if (MODESTATUS == 1) {
		ILI9163_fillRect(116, 60, 158, 78, WHITE);
		ILI9163_drawString(135, 50, Font_7x10, WHITE, "MAX");
		ILI9163_drawString(116, 65, Font_7x10, BLACK, maxVal);
		ILI9163_drawString(120, 80, Font_7x10, WHITE, "Vrms");
	}

	if (MODESTATUS == 3) {
		ILI9163_fillRect(100, 38, 150, 58, WHITE);
		if (res > (continuity/10.0)) {
			ILI9163_drawString(105, 45, Font_7x10, BLACK, "Open");
			shortFlag = 1;
		} else {
			ILI9163_drawString(105, 45, Font_7x10, BLACK, "Short");
			shortFlag = 2;
		}

	}

	// Display offset
	float offsetVal = acWave->offset;
	char offset[7];
	high = (int)offsetVal;
	diff = (offsetVal -  high)*100;
	low = abs((int)diff);
	if (offsetVal < 0 && offsetVal > - 1) {
		prefix = '-';
	} else {
		prefix = ' ';
	}
	sprintf(offset, "%c%02d.%02d", prefix, high, low);

	if (MODESTATUS == 0) {
		ILI9163_drawString(30, 30, Font_7x10, WHITE, "DC offset:");
		ILI9163_drawString(100, 30, Font_7x10, WHITE, "N/A");
	} else if (MODESTATUS == 1) {
		ILI9163_drawString(30, 30, Font_7x10, WHITE, "DC offset:");
		ILI9163_fillRect(100, 30, 142, 40, BLACK);
		ILI9163_drawString(100, 30, Font_7x10, WHITE, offset);
	}

	// Connectivity
	if (Connected == 0) {
		if (connectflash == 0) {
			ILI9163_fillRect(143, 95, 157, 110, BLACK);
			ILI9163_fillCircle(150, 120, 4, RED);
			ILI9163_drawString(143, 95, Font_11x18, WHITE, "!");
		} else if (connectflash == 1) {
			ILI9163_fillCircle(150, 120, 4, BLACK);
			ILI9163_drawString(143, 95, Font_11x18, WHITE, "!");
		}

	} else if (Connected == 1) {
		ILI9163_fillRect(143, 95, 157, 110, BLACK);
		if (connectflash == 0) {
			ILI9163_fillCircle(150, 120, 4, GREEN);
			ILI9163_drawString(143, 95, Font_11x18, WHITE, "#");

		} else if (connectflash == 1) {
			ILI9163_fillCircle(150, 120, 4, BLACK);
			ILI9163_drawString(143, 95, Font_11x18, WHITE, "#");
		}
	}

	//-----------------------Used for testing Touch Screen ----------------------------------

//	char* xCoord[32];
//	char* yCoord[32];
//	uint16_t xPixel;
//	uint16_t yPixel;
//
//	xPixel = (160 * dataY)/3847 - 5;
//	yPixel = 128  - (128 * dataX)/3847;
//
//	sprintf(xCoord, "X coord = %d", xPixel);
//	sprintf(yCoord, "Y coord = %d", yPixel);
//	ILI9163_fillRect(0, 0, 160, 128, WHITE);
//	ILI9163_drawString(47, 54, Font_7x10, BLACK, xCoord);
//	ILI9163_drawString(47, 94, Font_7x10, BLACK, yCoord);
//	ILI9163_fillRect(xPixel-2, yPixel-2, xPixel+2, yPixel+2, BLACK);

	// Used for UART
	unsigned char uartString[40] = {0};

	if (HAL_GetTick() > 2000 && sampleCount % 10) {
		if (shortFlag == 1) {
			sprintf(uartString, ":Open:%s:%s:%d:%d:%d:\r\n", minVal, maxVal, BRIGHTNESSLEVEL, MODESTATUS, HOLDSTATUS);
		} else if (shortFlag == 2) {
			sprintf(uartString, ":Short:%s:%s:%d:%d:%d:\r\n", minVal, maxVal, BRIGHTNESSLEVEL, MODESTATUS, HOLDSTATUS);
		} else {

			sprintf(uartString, ":%s:%s:%s:%d:%d:%d:\r\n", measVal, minVal, maxVal, BRIGHTNESSLEVEL, MODESTATUS, HOLDSTATUS);
		}
		HAL_UART_Transmit(&huart1, uartString , sizeof(uartString), 50);
	}

	ILI9163_render(); // This draws the whole frame buffer via DMA at once
}

void renderMessage(char* message) {
	ILI9163_fillRect(0, 0, 125, 20, WHITE);
	ILI9163_drawString(5, 7, Font_7x10, BLACK, message);
	ILI9163_render();

}

void modecontrol(){
	if ((xPixel > 33 && xPixel < 85) && (yPixel > 95 && yPixel < 128)) {
		HOLDSTATUS = 0;
		RESETFLAG = 1;
		if (MODESTATUS != 3) {
			MODESTATUS += 1;
			if (MODESTATUS == 2 || MODESTATUS == 3) {
				init_ADC(2);
			} else if (MODESTATUS == 1) {
				init_ADC(0);
			}
		} else {
			MODESTATUS = 0;
			init_ADC(0);
		}
		background_flag = 1;
	}
}

//function is used to detect when the hold button has been pressed on the LCD resistive touch display
void holdcontrol()
{
    if ((xPixel > 86 && xPixel < 138) && (yPixel > 95 && yPixel < 138)) {
        if (HOLDSTATUS == 1) {
            HOLDSTATUS = 0;
        } else if (HOLDSTATUS == 0) {
            HOLDSTATUS = 1;
        }
        background_flag = 1;
    }
}

//function is used to detect when the reset button has been pressed on the LCD resistive touch display
void resetcontrol()
{
    if ((xPixel > 100 && xPixel < 160) && (yPixel > 0 && yPixel < 60)) {
        if (MODESTATUS == 0 || MODESTATUS == 1) {
            RESETFLAG = 1;
        } else {
            ZEROFLAG = 1;
        }
    }
}

//function is used to detect when the brightness control buttons has been pressed on the LCD resistive touch display
void brightnesscontrol()
{
    // Increase
    if ((xPixel > 0 && xPixel < 40) && (yPixel > 20 && yPixel < 50)) {
        if (BRIGHTNESSLEVEL != 5) {
            BRIGHTNESSLEVEL = BRIGHTNESSLEVEL + 1;
        }
        TIM1->CCR1 = (65535 / (MAXBRIGHTNESS)*BRIGHTNESSLEVEL);
        background_flag = 1;
    }
    // Decrease
    if ((xPixel > 0 && xPixel < 30) && (yPixel > 90 && yPixel < 128)) {

        if (BRIGHTNESSLEVEL != 0) {
            BRIGHTNESSLEVEL = BRIGHTNESSLEVEL - 1;
        }
        TIM1->CCR1 = (65535 / (MAXBRIGHTNESS)*BRIGHTNESSLEVEL);
        background_flag = 1;
    }
}

void HAL_UART_RxCpltCallback(UART_HandleTypeDef* huart)
{
    //initiate length and an array in order to store messages from UART inside
    static uint8_t message[50] = { 0 };
    static int length = 0;
    //Use the HAL library to receive data From the UART IR line
    HAL_UART_Receive_IT(&huart1, rxBuffer, BUFFERSIZE);
    //once the end of line characters are detected the message is then handled
    if (rxBuffer[0] == '\r') {
        cont_flag = 1;
        memcpy(uartMessage, message, 100);
        // Extract the first token
        char* token = strtok(message, ":");
        //create char double array to store array of messages
        char* msg[6];
        int i = 0;
        // loop through the string to extract all other tokens
        while (token != NULL) {
            msg[i] = token;
            token = strtok(NULL, ":");
            i++;
        }
        i = 0;

        //check if a message string is sent and if so display the message
        if (msg[5][0] != '-' && msg[5][1] != '-' && msg[5][2] != '-') {
            // check if valid message
        	for (int i =0; i < 3; i++){
        		if ((isalpha(msg[5][i]) != 0) || (isdigit(msg[5][i]) != 0) || (msg[5][i] != '\0') || (strcmp(msg[5][i],""))){
        			message_flag = 1;
        			strcpy(uniqueMsg, msg[5]);
        		}
            }

        }
        //set timer2 variable for connectivity functionality
        time2 = HAL_GetTick();

        //check to see if the string being sent from GUI matches Hold On and if so to then
        //carry out the functionality required
        if (!strcmp(msg[3], "Hold On")) {
            //if Hold is sent from PC change hold status to 1
            HOLDSTATUS = 1;
            background_flag = 1;
        }

        //check to see if the string being sent from GUI matches Hold Off and if so to then
        //carry out the functionality required
        if (!strcmp(msg[3], "Hold Off")) {
            //if Hold is sent from PC change holdstatus to 0
            HOLDSTATUS = 0;
            background_flag = 1;
        }

        //check to see if the string being sent from GUI matches Up and if so to then
        //carry out the functionality required
        if (!strcmp(msg[2], "Up")) {
            if (BRIGHTNESSLEVEL < 5) {
                BRIGHTNESSLEVEL++;
                TIM1->CCR1 = (65535 / (MAXBRIGHTNESS)*BRIGHTNESSLEVEL);
            }
            background_flag = 1;
        }

        //check to see if the string being sent from GUI matches Down and if so to then
        //carry out the functionality required
        if (!strcmp(msg[2], "Down")) {
            if (BRIGHTNESSLEVEL > 0) {
                BRIGHTNESSLEVEL--;
                TIM1->CCR1 = (65535 / (MAXBRIGHTNESS)*BRIGHTNESSLEVEL);
            }
            background_flag = 1;
        }

        //check to see if the string being sent from GUI matches Mode 0 and if so to then
        //carry out the functionality required
        if (!strcmp(msg[0], "Mode 0")) {
            init_ADC(0);
            MODESTATUS = 0;
            HOLDSTATUS = 0;
            RESETFLAG = 1;
            background_flag = 1;
        }

        //check to see if the string being sent from GUI matches Mode 1 and if so to then
        //carry out the functionality required
        if (!strcmp(msg[0], "Mode 1")) {
            init_ADC(0);
            MODESTATUS = 1;
            HOLDSTATUS = 0;
            RESETFLAG = 1;
            background_flag = 1;
        }

        //check to see if the string being sent from GUI matches mode 2 and if so to then
        //carry out the functionality required
        if (!strcmp(msg[0], "Mode 2")) {
            init_ADC(2);
            MODESTATUS = 2;
            HOLDSTATUS = 0;
            RESETFLAG = 1;
            background_flag = 1;
        }

        //check to see if the string being sent from GUI matches mode 3 and if so to then
        //carry out the functionality required
        if (!strcmp(msg[0], "Mode 3")) {
            init_ADC(2);
            MODESTATUS = 3;
            HOLDSTATUS = 0;
            RESETFLAG = 1;
            background_flag = 1;
        }

        //check to see if the string being sent from GUI matches Reset and if so to then
        //carry out the functionality required
        if (!strcmp(msg[1], "Reset")) {
            RESETFLAG = 1;
        }

        //		continuity = atoi(msg[4]);
        flash_checker(atoi(msg[4])); // check the continuity value from the GUI

        //reset & and clear the message string
        for (int i = 0; i < length; i++) {
            message[i] = 0;
        }
        length = 0;
    } else {
        message[length] = rxBuffer[0];
        length++;
    }
}
/* USER CODE END 4 */

void Error_Handler(void)
{
    __disable_irq();
    while (1) {
    }
}

/************************ (C) COPYRIGHT STMicroelectronics *****END OF FILE****/
